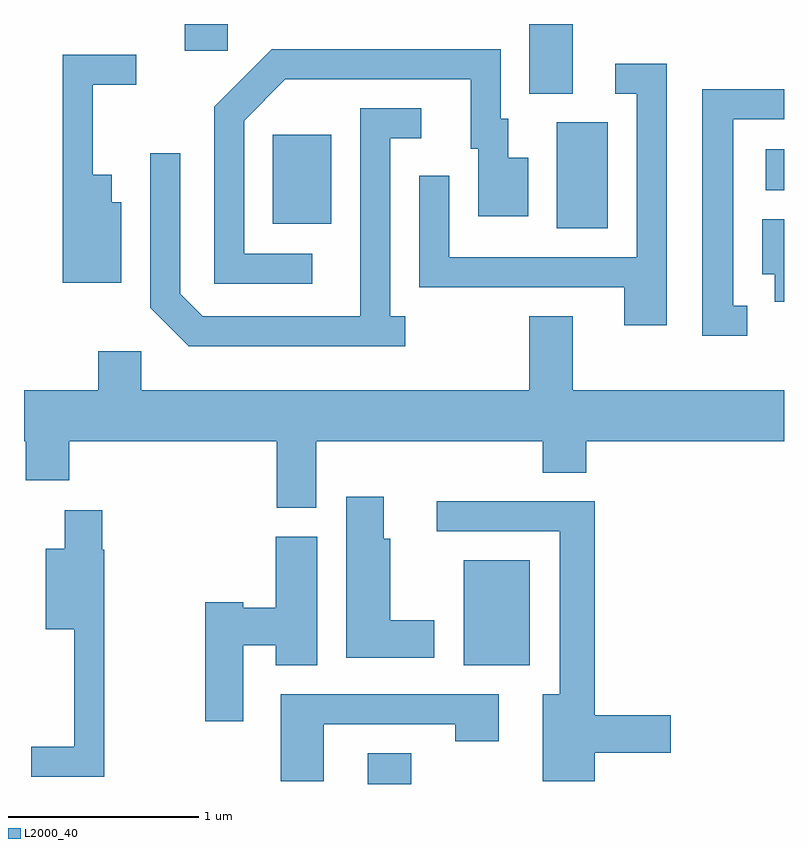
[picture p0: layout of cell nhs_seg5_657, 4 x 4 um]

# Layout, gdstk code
import gdstk
lib = gdstk.Library(unit=1e-6, precision=1e-09)
def R(c, l, rs):  # rectangles x0, y0, x1, y1
    for r in rs: c.add(gdstk.rectangle(r[:2], r[2:], *l))
def P(c, l, *ps):  # polygons
    for p in ps: c.add(gdstk.Polygon(p, *l))
L2000_40 = (2000, 40)

nhs_seg5_657 = lib.new_cell('nhs_seg5_657')
R(nhs_seg5_657, L2000_40, [(205.421,1486.072,205.649,1486.234), (205.926,1486.696,206.274,1487.249), (206.416,1488.996,206.684,1489.554), (204.921,1489.021,205.229,1489.489), (207.516,1489.196,207.611,1489.414), (206.271,1489.706,206.499,1490.072), (204.456,1489.931,204.684,1490.072)])
P(nhs_seg5_657, L2000_40, [(205.128,1488.864),(204.769,1488.864),(204.769,1489.564),(204.987,1489.781),(205.961,1489.781),(205.961,1489.416),(206.001,1489.416),(206.001,1489.061),(206.264,1489.061),(206.264,1489.369),(206.159,1489.369),(206.159,1489.574),(206.119,1489.574),(206.119,1489.939),(204.914,1489.939),(204.611,1489.637),(204.611,1488.706),(205.128,1488.706)],
  [(204.124,1489.134),(204.074,1489.134),(204.074,1489.279),(203.974,1489.279),(203.974,1489.751),(204.203,1489.751),(204.203,1489.909),(203.816,1489.909),(203.816,1488.711),(204.124,1488.711)],
  [(206.994,1489.864),(206.723,1489.864),(206.723,1489.706),(206.836,1489.706),(206.836,1488.844),(205.849,1488.844),(205.849,1489.273),(205.691,1489.273),(205.691,1488.686),(206.771,1488.686),(206.771,1488.486),(206.994,1488.486)],
  [(207.418,1488.589),(207.344,1488.589),(207.344,1489.571),(207.611,1489.571),(207.611,1489.729),(207.181,1489.729),(207.181,1488.431),(207.418,1488.431)],
  [(205.618,1488.534),(205.539,1488.534),(205.539,1489.471),(205.703,1489.471),(205.703,1489.629),(205.381,1489.629),(205.381,1488.534),(204.552,1488.534),(204.434,1488.652),(204.434,1489.393),(204.276,1489.393),(204.276,1488.579),(204.479,1488.376),(205.618,1488.376)],
  [(207.611,1489.044),(207.496,1489.044),(207.496,1488.756),(207.561,1488.756),(207.561,1488.611),(207.611,1488.611)],
  [(205.149,1487.876),(206.341,1487.876),(206.341,1487.711),(206.569,1487.711),(206.569,1487.876),(207.611,1487.876),(207.611,1488.144),(206.499,1488.144),(206.499,1488.534),(206.271,1488.534),(206.271,1488.144),(204.229,1488.144),(204.229,1488.349),(204.001,1488.349),(204.001,1488.144),(203.611,1488.144),(203.611,1487.876),(203.621,1487.876),(203.621,1487.671),(203.849,1487.671),(203.849,1487.876),(204.941,1487.876),(204.941,1487.526),(205.149,1487.526)],
  [(205.769,1486.934),(205.539,1486.934),(205.539,1487.364),(205.504,1487.364),(205.504,1487.584),(205.306,1487.584),(205.306,1486.736),(205.769,1486.736)],
  [(206.614,1486.236),(207.014,1486.236),(207.014,1486.434),(206.614,1486.434),(206.614,1487.559),(205.783,1487.559),(205.783,1487.401),(206.431,1487.401),(206.431,1486.544),(206.341,1486.544),(206.341,1486.086),(206.614,1486.086)],
  [(204.034,1487.305),(204.024,1487.305),(204.024,1487.514),(203.826,1487.514),(203.826,1487.309),(203.726,1487.309),(203.726,1486.886),(203.876,1486.886),(203.876,1486.269),(203.648,1486.269),(203.648,1486.111),(204.034,1486.111)],
  [(204.764,1486.801),(204.936,1486.801),(204.936,1486.696),(205.154,1486.696),(205.154,1487.374),(204.936,1487.374),(204.936,1486.999),(204.764,1486.999),(204.764,1487.029),(204.566,1487.029),(204.566,1486.401),(204.764,1486.401)],
  [(205.189,1486.386),(205.881,1486.386),(205.881,1486.296),(206.109,1486.296),(206.109,1486.544),(204.961,1486.544),(204.961,1486.086),(205.189,1486.086)])

lib.write_gds('nhs_seg5_657.gds')
